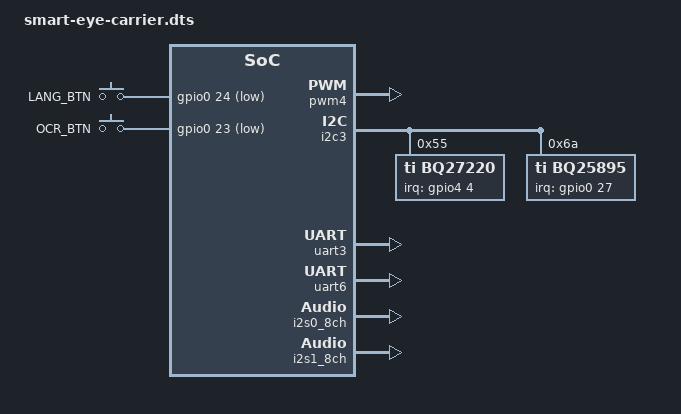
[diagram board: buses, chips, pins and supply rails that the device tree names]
/dts-v1/;
/plugin/;

/ {
	metadata {
		title = "Smart Eye Custom Carrier Board";
		compatible = "radxa,cm5-io";
		category = "misc";
		exclusive = "GPIO0_C5\0GPIO3_B7\0GPIO3_C0\0GPIO4_A4\0GPIO4_A5\0GPIO4_A6\0GPIO1_D1\0GPIO1_D0\0GPIO0_D3\0GPIO0_D0\0GPIO0_C7\0GPIO4_A3\0GPIO4_A1\0GPIO4_A2\0GPIO4_B2\0GPIO0_A0";
		description = "Enable peripherals for Smart Eye custom carrier board:\n  - PWM4-M0 (GPIO0_C5) vibration motor\n  - I2C3-M1 (GPIO3_B7 SCL / GPIO3_C0 SDA) BQ27220 fuel gauge + BQ25895 charger\n  - GPIO4_A4 fuel gauge GPOUT interrupt\n  - UART3-M2 (GPIO4_A5 TX / GPIO4_A6 RX) front ultrasonic (US-front)\n  - UART6-M2 (GPIO1_D1 TX / GPIO1_D0 RX) bottom ultrasonic (US-down)\n  - GPIO0_D3 CHG_INT0_L charger interrupt\n  - GPIO0_D0 LANG_BTN, GPIO0_C7 OCR_BTN\n  - Speaker: MAX98357A on I2S1-M0 (SD_MODE via BSS138 on GPIO4_A3)\n  - Headphone: ES8316 codec on I2S0 + I2C8-M2 (hp-det-gpio jack detect)\n  - GPIO0_A0 HP_INT pull-up (ES8316 GPIO3 open-drain; R29=0R, no PCB pull-up)\n  - I2S1 trcm-sync-tx-only: BCLK+LRCLK stop together (DC protection)";
	};

	/*
	 * Vibration motor on GPIO0_C5 (PWM4-M0, controller at 0xfebd0000).
	 *
	 * GPIO0_C5 muxes to PWM4 in M0 mode (mux function 1).  The PWM4
	 * controller is the first channel of the febd0000 PWM block
	 * (pwm4=febd0000, pwm5=febd0010, pwm6=febd0020, pwm7=febd0030).
	 *
	 * We use a custom vib_pwm4m0 pin group (defined in fragment@2) instead
	 * of the stock pwm4m0_pins so we can add pcfg_pull_down.  The pull-down
	 * holds GPIO0_C5 LOW during early boot — before the PWM driver claims
	 * the pin — preventing the motor from staying on until the OS is up.
	 */
	fragment@0 {
		target = <&pwm4>;
		__overlay__ {
			status = "okay";
			pinctrl-names = "default";
			pinctrl-0 = <&vib_pwm4m0>;
		};
	};

	/*
	 * I2C3-M1: Power management ICs on GPIO3_B7 (SCL) / GPIO3_C0 (SDA)
	 *   0x55 - BQ27220YZFR  fuel gauge (U20)
	 *   0x6A - BQ25895RTWR  charger    (U2)
	 */
	fragment@1 {
		target = <&i2c3>;
		__overlay__ {
			status = "okay";
			pinctrl-names = "default";
			pinctrl-0 = <&i2c3m1_xfer>;
			#address-cells = <1>;
			#size-cells = <0>;

			bq27220: fuel-gauge@55 {
				compatible = "ti,bq27220";
				reg = <0x55>;
				pinctrl-names = "default";
				pinctrl-0 = <&bq27220_int>;
				interrupt-parent = <&gpio4>;
				interrupts = <4 2>; /* GPIO4_A4, IRQ_TYPE_EDGE_FALLING */
			};

			bq25895: charger@6a {
				compatible = "ti,bq25895";
				reg = <0x6a>;
				pinctrl-names = "default";
				pinctrl-0 = <&chg_int0>;
				interrupt-parent = <&gpio0>;
				interrupts = <27 2>; /* GPIO0_D3, IRQ_TYPE_EDGE_FALLING */
				ti,battery-regulation-voltage = <4208000>; /* uV */
				ti,charge-current = <2048000>;             /* uA */
				ti,termination-current = <256000>;         /* uA */
				ti,precharge-current = <256000>;           /* uA */
				ti,minimum-sys-voltage = <3500000>;        /* uV */
				ti,boost-voltage = <5126000>;              /* uV */
				ti,boost-max-current = <1400000>;          /* uA */
			};
		};
	};

	/* GPIO pin configurations for interrupts, buttons, and audio */
	fragment@2 {
		target = <&pinctrl>;
		__overlay__ {
			bq27220 {
				bq27220_int: bq27220-int {
					rockchip,pins = <4 4 0 &pcfg_pull_up>;
				};
			};
			charger {
				chg_int0: chg-int0 {
					rockchip,pins = <0 27 0 &pcfg_pull_up>;
				};
			};
			buttons {
				lang_btn: lang-btn {
					rockchip,pins = <0 24 0 &pcfg_pull_up>;
				};
				ocr_btn: ocr-btn {
					rockchip,pins = <0 23 0 &pcfg_pull_up>;
				};
			};
			audio-amp {
				amp_sd_pin: amp-sd-pin {
					/* pull-down keeps SD_MODE LOW (amp OFF) when GPIO is undriven */
					rockchip,pins = <4 3 0 &pcfg_pull_down>;
				};
			};
			headphone-int {
				hp_int_pull: hp-int-pull {
					/*
					 * GPIO0_A0 = HP_INT from ES8316 GPIO3.
					 * ES8316 GPIO3 is open-drain: LOW=HP inserted, HI-Z=no HP.
					 * Custom carrier board has no pull-up resistor (R29=0Ω series
					 * only), so without bias-pull-up the line floats at ~0.88V
					 * instead of 1.8V.  Enable the SoC internal ~50KΩ pull-up here
					 * as a software workaround until a 10KΩ to VCC_1V8 is added.
					 */
					rockchip,pins = <0 0 0 &pcfg_pull_up>;
				};
			};
			vibration {
				vib_pwm4m0: vib-pwm4m0 {
					/* GPIO0_C5 (bank=0, pin=21) in PWM4-M0 mux (func 1).
					 * pull-down holds pin LOW during early boot so the
					 * motor stays off before the PWM driver takes over. */
					rockchip,pins = <0 21 1 &pcfg_pull_down>;
				};
			};
		};
	};

	/*
	 * UART3-M2: Front ultrasonic sensor (US-front) on GPIO4_A5 (TX) / GPIO4_A6 (RX)
	 *
	 * Maps to /dev/ttyS3 in the OS.
	 */
	fragment@3 {
		target = <&uart3>;
		__overlay__ {
			status = "okay";
			pinctrl-names = "default";
			pinctrl-0 = <&uart3m2_xfer>;
		};
	};

	/*
	 * UART6-M2: Bottom ultrasonic sensor (US-down) on GPIO1_D1 (TX) / GPIO1_D0 (RX)
	 *
	 * Maps to /dev/ttyS6 in the OS.
	 */
	fragment@3a {
		target = <&uart6>;
		__overlay__ {
			status = "okay";
			pinctrl-names = "default";
			pinctrl-0 = <&uart6m2_xfer>;
		};
	};

	/* GPIO keys: LANG_BTN (GPIO0_D0) and OCR_BTN (GPIO0_C7) */
	fragment@4 {
		target-path = "/";
		__overlay__ {
			smart-eye-keys {
				compatible = "gpio-keys";
				pinctrl-names = "default";
				pinctrl-0 = <&lang_btn &ocr_btn &hp_int_pull>;

				lang-button {
					label = "LANG_BTN";
					linux,code = <0x100>; /* BTN_MISC */
					gpios = <&gpio0 24 1>; /* GPIO0_D0, active low */
					debounce-interval = <50>;
				};

				ocr-button {
					label = "OCR_BTN";
					linux,code = <0x101>; /* BTN_1 */
					gpios = <&gpio0 23 1>; /* GPIO0_C7, active low */
					debounce-interval = <50>;
				};
			};

			/*
			 * MAX98357A speaker amplifier (I2S DAC, no I2C).
			 *
			 * SD_MODE is NOT managed by the kernel driver here.
			 * The kernel's DAPM shutdown path leaves I2S BCLK
			 * running for ~3 s after the PCM stream closes,
			 * creating the dangerous BCLK-without-LRCLK state
			 * that produces DC on the speaker outputs.
			 *
			 * Instead, the application (main.py AudioPlayer)
			 * controls GPIO4_A3 via sysfs, pulling SD_MODE LOW
			 * the instant aplay exits — before the I2S clocks
			 * enter the invalid state.
			 */
			max98357a: max98357a {
				compatible = "maxim,max98357a";
				#sound-dai-cells = <0>;
				pinctrl-names = "default";
				pinctrl-0 = <&amp_sd_pin>;
				status = "okay";
			};
		};
	};

	/*
	 * ES8316 Headphone Codec (I2C8-M2 @ 0x11, I2S0 DAI)
	 *
	 * The base DTB (rk3588s-radxa-cm5-io.dtb) already has:
	 *   - i2c8 enabled with i2c8m2-xfer pinctrl (GPIO1_D6/D7 SCL/SDA)
	 *   - es8316@11 node (status=okay) with working clock configuration
	 *   - es8316-sound (rockchip,multicodecs-card) machine driver
	 *
	 * **Do NOT override i2c8 or add duplicate es8316 nodes** — modifying the
	 * i2c8 node in an overlay corrupts phandle references and prevents the
	 * pinctrl from being applied, leaving GPIO1_D6/D7 in plain GPIO mode
	 * instead of I2C mode. The I2C bus becomes completely non-functional.
	 *
	 * Simply ensure es8316-sound and i2s0_8ch are enabled (they are in the
	 * base DTB, but we confirm here for completeness).
	 */

	fragment@5 {
		target-path = "/es8316-sound";
		__overlay__ {
			status = "okay";
			/*
			 * rockchip,hp-det-gpio is intentionally omitted here.
			 *
			 * The rk-multicodecs driver accepts the property and claims
			 * GPIO0_A0 via gpiod (blocking sysfs access), but never
			 * actually registers a functioning GPIO IRQ — it declares
			 * SW_HEADPHONE_INSERT capability on the input device yet
			 * never fires the event on plug/unplug.
			 *
			 * Leaving GPIO0_A0 free allows audio-router.py to poll it
			 * directly via /sys/class/gpio with a 500 ms debounce, which
			 * is the only reliable detection method on this BSP.
			 */
		};
	};

	fragment@5a {
		target = <&i2s0_8ch>;
		__overlay__ {
			status = "okay";
		};
	};

	/*
	 * I2S1 Speaker Output (MAX98357A Amplifier)
	 *
	 * I2S1 (fe480000) carries audio to the MAX98357A amplifier via:
	 *   GPIO4_A1 (pin 129) = SCLK (bit clock) via i2s1m0-sclk
	 *   GPIO4_A2 (pin 130) = LRCK (frame/sample clock) via i2s1m0-lrck
	 *   GPIO4_B2 (pin 138) = SDO1 (stereo audio data) via i2s1m0-sdo1
	 *
	 * Pin Conflict Workaround:
	 *   The base DTB specifies all 10 i2s1m0 pin groups, but several
	 *   conflict with other peripherals:
	 *     - i2s1m0-sdo0 (GPIO4_B0) is claimed by I2C6-M3 (fec80000.i2c)
	 *     - i2s1m0-sdi0 (GPIO4_A5) conflicts with UART3-M2 TX
	 *     - i2s1m0-sdi1 (GPIO4_A6) conflicts with UART3-M2 RX
	 *   When the kernel tries to apply conflicting groups, the entire
	 *   pinctrl application fails — ALL I2S1 pins revert to GPIO mode.
	 *   Solution: override pinctrl-0 with only the 3 output groups needed
	 *   for the MAX98357A DAC (sclk, lrck, sdo1). SDI pins are input-only
	 *   and not needed for speaker playback.
	 *
	 * LRCK Signal Generation Fix:
	 *   The base DTB includes i2s-lrck-gpio which tells the RK3588 BSP
	 *   driver to monitor LRCK via GPIO polling, not generate it as part
	 *   of the I2S protocol. This breaks I2S1 operation (no LRCK signal
	 *   → codec cannot sync to audio frames). Override with null GPIO
	 *   (phandle 0) to disable GPIO-based monitoring and let I2S1 generate
	 *   LRCK as a real signal on GPIO4_A2 (pin 130).
	 *
	 * BCLK-LRCK Synchronization:
	 *   rockchip,trcm-sync-tx-only forces both BCLK and LRCK to stop
	 *   simultaneously when playback stops. Without this, BCLK can free-run
	 *   after LRCK drops, creating the dangerous state where DC appears on
	 *   the speaker outputs (max98357a_soft_shutdown_power_control_pin comment).
	 *
	 * Stereo Routing:
	 *   i2s-tx-route = <1 0 2 3> routes stereo channels to SDO1 (not SDO0),
	 *   which is the only output pin connected to the MAX98357A DIN.
	 */
	fragment@6 {
		target = <&i2s1_8ch>;
		__overlay__ {
			status = "okay";
			/delete-property/ i2s-lrck-gpio;
			rockchip,i2s-tx-route = <1 0 2 3>;
			rockchip,i2s-rx-route = <0 1 2 3>;
			rockchip,trcm-sync-tx-only;
			pinctrl-names = "default";
			pinctrl-0 = <&i2s1m0_sclk
				     &i2s1m0_lrck
				     &i2s1m0_sdo1>;
		};
	};

	/*
	 * Speaker sound card via MAX98357A on I2S1.
	 * CPU (I2S1) is bitclock + frame master.
	 */
	fragment@7 {
		target-path = "/";
		__overlay__ {
			smart-eye-sound {
				status = "okay";
				compatible = "simple-audio-card";
				simple-audio-card,name = "Smart-Eye-Audio";
				simple-audio-card,format = "i2s";
				simple-audio-card,mclk-fs = <256>;
				simple-audio-card,bitclock-master = <&spk_cpu>;
				simple-audio-card,frame-master = <&spk_cpu>;

				spk_cpu: simple-audio-card,cpu {
					sound-dai = <&i2s1_8ch>;
				};

				simple-audio-card,codec {
					sound-dai = <&max98357a>;
				};
			};
		};
	};

	/*
	 * USB Type-C role switch and OTG VBUS handling are intentionally NOT
	 * done here.  They were previously fragment@8/@9/@10, but those added
	 * three external dependencies that this base DTB does not export the
	 * same way:
	 *     - symbol  usbdrd_dwc3_0   (fragment@8 usb-role-switch phandle)
	 *     - path    /i2c@fec80000/fusb302@22
	 *     - path    /syscon@fd5d0000/usb2-phy@0/otg-port
	 * U-Boot's `fdt apply` is all-or-nothing: a single unresolved symbol
	 * or missing target path makes it drop the ENTIRE overlay, which took
	 * i2c3 (fuel gauge/charger), the MAX98357A speaker card, the vibration
	 * pinctrl and the UARTs down with it.
	 *
	 * The USB Type-C fix therefore lives entirely in the base DTB patches
	 * (Overlays/BASE_DTB_PATCH.md, applied by setup_device.sh --phase=3):
	 *   Patch 2 - remove fusb302 vbus-supply (GPIO4_A5/UART3 conflict)
	 *   Patch 3 - remove TCPM connector deadlocks AND add
	 *             usb-role-switch = <&usbdrd_dwc3_0> directly to fusb302@22
	 * plus removing rk3588-dwc3-peripheral.dtbo from extlinux.conf so DWC3
	 * runs in OTG mode and registers fc000000.usb-role-switch.  In the base
	 * DTB those symbols/paths resolve natively, so there is no fragile
	 * overlay fixup that can take the whole overlay down.
	 */
};
